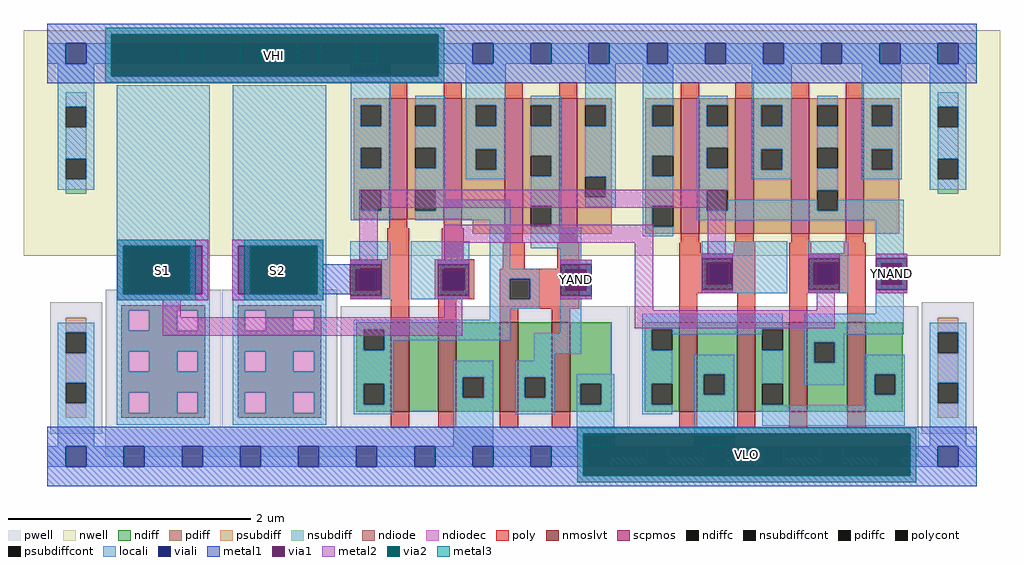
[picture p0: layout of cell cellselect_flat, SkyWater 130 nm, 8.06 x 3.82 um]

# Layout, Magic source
magic
tech sky130A
magscale 1 2
<< nwell >>
rect 96 284 1708 656
<< pwell >>
rect 139 -10 225 207
rect 231 1 421 228
rect 423 1 613 228
rect 619 1 1093 200
rect 1095 1 1573 200
rect 230 -48 1574 1
rect 1579 -10 1665 207
<< scpmos >>
rect 699 344 729 544
rect 789 344 819 544
rect 890 320 920 544
rect 980 320 1010 544
rect 1181 320 1211 544
rect 1271 320 1301 544
rect 1363 320 1393 544
rect 1453 320 1483 544
<< nmoslvt >>
rect 702 26 732 174
rect 780 26 810 174
rect 882 26 912 174
rect 968 26 998 174
rect 1178 26 1208 174
rect 1274 26 1304 174
rect 1360 26 1390 174
rect 1456 26 1486 174
<< ndiff >>
rect 645 162 702 174
rect 645 128 657 162
rect 691 128 702 162
rect 645 72 702 128
rect 645 38 657 72
rect 691 38 702 72
rect 645 26 702 38
rect 732 26 780 174
rect 810 83 882 174
rect 810 49 821 83
rect 855 49 882 83
rect 810 26 882 49
rect 912 83 968 174
rect 912 49 923 83
rect 957 49 968 83
rect 912 26 968 49
rect 998 72 1067 174
rect 998 38 1015 72
rect 1049 38 1067 72
rect 998 26 1067 38
rect 1121 162 1178 174
rect 1121 128 1133 162
rect 1167 128 1178 162
rect 1121 72 1178 128
rect 1121 38 1133 72
rect 1167 38 1178 72
rect 1121 26 1178 38
rect 1208 88 1274 174
rect 1208 54 1219 88
rect 1253 54 1274 88
rect 1208 26 1274 54
rect 1304 162 1360 174
rect 1304 128 1315 162
rect 1349 128 1360 162
rect 1304 72 1360 128
rect 1304 38 1315 72
rect 1349 38 1360 72
rect 1304 26 1360 38
rect 1390 141 1456 174
rect 1390 107 1401 141
rect 1435 107 1456 141
rect 1390 26 1456 107
rect 1486 88 1547 174
rect 1486 54 1501 88
rect 1535 54 1547 88
rect 1486 26 1547 54
<< pdiff >>
rect 641 532 699 544
rect 641 498 652 532
rect 686 498 699 532
rect 641 462 699 498
rect 641 428 652 462
rect 686 428 699 462
rect 641 392 699 428
rect 641 358 652 392
rect 686 358 699 392
rect 641 344 699 358
rect 729 532 789 544
rect 729 498 742 532
rect 776 498 789 532
rect 729 462 789 498
rect 729 428 742 462
rect 776 428 789 462
rect 729 392 789 428
rect 729 358 742 392
rect 776 358 789 392
rect 729 344 789 358
rect 819 532 890 544
rect 819 498 842 532
rect 876 498 890 532
rect 819 460 890 498
rect 819 426 842 460
rect 876 426 890 460
rect 819 344 890 426
rect 837 320 890 344
rect 920 532 980 544
rect 920 498 933 532
rect 967 498 980 532
rect 920 449 980 498
rect 920 415 933 449
rect 967 415 980 449
rect 920 366 980 415
rect 920 332 933 366
rect 967 332 980 366
rect 920 320 980 332
rect 1010 532 1067 544
rect 1010 498 1023 532
rect 1057 498 1067 532
rect 1010 414 1067 498
rect 1010 380 1023 414
rect 1057 380 1067 414
rect 1010 320 1067 380
rect 1122 532 1181 544
rect 1122 498 1134 532
rect 1168 498 1181 532
rect 1122 449 1181 498
rect 1122 415 1134 449
rect 1168 415 1181 449
rect 1122 366 1181 415
rect 1122 332 1134 366
rect 1168 332 1181 366
rect 1122 320 1181 332
rect 1211 532 1271 544
rect 1211 498 1224 532
rect 1258 498 1271 532
rect 1211 462 1271 498
rect 1211 428 1224 462
rect 1258 428 1271 462
rect 1211 392 1271 428
rect 1211 358 1224 392
rect 1258 358 1271 392
rect 1211 320 1271 358
rect 1301 532 1363 544
rect 1301 498 1314 532
rect 1348 498 1363 532
rect 1301 460 1363 498
rect 1301 426 1314 460
rect 1348 426 1363 460
rect 1301 320 1363 426
rect 1393 532 1453 544
rect 1393 498 1406 532
rect 1440 498 1453 532
rect 1393 462 1453 498
rect 1393 428 1406 462
rect 1440 428 1453 462
rect 1393 392 1453 428
rect 1393 358 1406 392
rect 1440 358 1453 392
rect 1393 320 1453 358
rect 1483 532 1542 544
rect 1483 498 1496 532
rect 1530 498 1542 532
rect 1483 460 1542 498
rect 1483 426 1496 460
rect 1530 426 1542 460
rect 1483 320 1542 426
<< ndiffc >>
rect 657 128 691 162
rect 657 38 691 72
rect 821 49 855 83
rect 923 49 957 83
rect 1015 38 1049 72
rect 1133 128 1167 162
rect 1133 38 1167 72
rect 1219 54 1253 88
rect 1315 128 1349 162
rect 1315 38 1349 72
rect 1401 107 1435 141
rect 1501 54 1535 88
<< pdiffc >>
rect 652 498 686 532
rect 652 428 686 462
rect 652 358 686 392
rect 742 498 776 532
rect 742 428 776 462
rect 742 358 776 392
rect 842 498 876 532
rect 842 426 876 460
rect 933 498 967 532
rect 933 415 967 449
rect 933 332 967 366
rect 1023 498 1057 532
rect 1023 380 1057 414
rect 1134 498 1168 532
rect 1134 415 1168 449
rect 1134 332 1168 366
rect 1224 498 1258 532
rect 1224 428 1258 462
rect 1224 358 1258 392
rect 1314 498 1348 532
rect 1314 426 1348 460
rect 1406 498 1440 532
rect 1406 428 1440 462
rect 1406 358 1440 392
rect 1496 498 1530 532
rect 1496 426 1530 460
<< psubdiff >>
rect 165 157 199 181
rect 165 74 199 123
rect 165 16 199 40
rect 1605 157 1639 181
rect 1605 74 1639 123
rect 1605 16 1639 40
<< nsubdiff >>
rect 165 530 199 554
rect 165 444 199 496
rect 165 386 199 410
rect 1605 530 1639 554
rect 1605 444 1639 496
rect 1605 386 1639 410
<< psubdiffcont >>
rect 165 123 199 157
rect 165 40 199 74
rect 1605 123 1639 157
rect 1605 40 1639 74
<< nsubdiffcont >>
rect 165 496 199 530
rect 165 410 199 444
rect 1605 496 1639 530
rect 1605 410 1639 444
<< poly >>
rect 699 544 729 570
rect 789 544 819 570
rect 890 544 920 570
rect 980 544 1010 570
rect 1181 544 1211 570
rect 1271 544 1301 570
rect 1363 544 1393 570
rect 1453 544 1483 570
rect 699 329 729 344
rect 789 329 819 344
rect 696 278 732 329
rect 786 278 822 329
rect 890 305 920 320
rect 980 305 1010 320
rect 1181 305 1211 320
rect 1271 305 1301 320
rect 1363 305 1393 320
rect 1453 305 1483 320
rect 635 262 732 278
rect 635 228 651 262
rect 685 228 732 262
rect 635 212 732 228
rect 774 262 840 278
rect 887 262 923 305
rect 977 262 1013 305
rect 774 228 790 262
rect 824 228 840 262
rect 774 212 840 228
rect 882 246 1013 262
rect 882 212 898 246
rect 932 212 1013 246
rect 702 174 732 212
rect 780 174 810 212
rect 882 196 1013 212
rect 1178 288 1214 305
rect 1268 288 1304 305
rect 1178 272 1304 288
rect 1178 238 1231 272
rect 1265 238 1304 272
rect 1178 222 1304 238
rect 882 174 912 196
rect 968 174 998 196
rect 1178 174 1208 222
rect 1274 174 1304 222
rect 1360 288 1396 305
rect 1450 288 1486 305
rect 1360 272 1486 288
rect 1360 238 1407 272
rect 1441 238 1486 272
rect 1360 222 1486 238
rect 1360 174 1390 222
rect 1456 174 1486 222
rect 702 0 732 26
rect 780 0 810 26
rect 882 0 912 26
rect 968 0 998 26
rect 1178 0 1208 26
rect 1274 0 1304 26
rect 1360 0 1390 26
rect 1456 0 1486 26
<< polycont >>
rect 651 228 685 262
rect 790 228 824 262
rect 898 212 932 246
rect 1231 238 1265 272
rect 1407 238 1441 272
<< ndiode >>
rect 257 194 395 202
rect 257 160 269 194
rect 303 160 349 194
rect 383 160 395 194
rect 257 126 395 160
rect 257 92 269 126
rect 303 92 349 126
rect 383 92 395 126
rect 257 58 395 92
rect 257 24 269 58
rect 303 24 349 58
rect 383 24 395 58
rect 257 16 395 24
rect 449 194 587 202
rect 449 160 461 194
rect 495 160 541 194
rect 575 160 587 194
rect 449 126 587 160
rect 449 92 461 126
rect 495 92 541 126
rect 575 92 587 126
rect 449 58 587 92
rect 449 24 461 58
rect 495 24 541 58
rect 575 24 587 58
rect 449 16 587 24
<< ndiodec >>
rect 269 160 303 194
rect 349 160 383 194
rect 269 92 303 126
rect 349 92 383 126
rect 269 24 303 58
rect 349 24 383 58
rect 461 160 495 194
rect 541 160 575 194
rect 461 92 495 126
rect 541 92 575 126
rect 461 24 495 58
rect 541 24 575 58
<< locali >>
rect 134 601 165 635
rect 199 601 261 635
rect 295 601 357 635
rect 391 601 453 635
rect 487 601 549 635
rect 583 601 645 635
rect 679 601 741 635
rect 775 601 837 635
rect 871 601 933 635
rect 967 601 1029 635
rect 1063 601 1125 635
rect 1159 601 1221 635
rect 1255 601 1317 635
rect 1351 601 1413 635
rect 1447 601 1509 635
rect 1543 601 1605 635
rect 1639 601 1670 635
rect 152 530 212 601
rect 152 496 165 530
rect 199 496 212 530
rect 152 444 212 496
rect 152 410 165 444
rect 199 410 212 444
rect 152 393 212 410
rect 249 300 403 565
rect 441 310 595 565
rect 636 532 702 601
rect 636 498 652 532
rect 686 498 702 532
rect 636 462 702 498
rect 636 428 652 462
rect 686 428 702 462
rect 636 392 702 428
rect 636 358 652 392
rect 686 358 702 392
rect 636 342 702 358
rect 742 532 792 548
rect 776 498 792 532
rect 742 462 792 498
rect 776 428 792 462
rect 742 392 792 428
rect 826 532 892 601
rect 826 498 842 532
rect 876 498 892 532
rect 826 460 892 498
rect 826 426 842 460
rect 876 426 892 460
rect 826 410 892 426
rect 933 532 983 548
rect 967 498 983 532
rect 933 449 983 498
rect 967 415 983 449
rect 776 376 792 392
rect 776 358 899 376
rect 742 342 899 358
rect 249 220 270 300
rect 380 220 403 300
rect 249 194 403 220
rect 440 300 595 310
rect 440 220 460 300
rect 570 220 595 300
rect 440 210 595 220
rect 635 262 701 308
rect 635 261 651 262
rect 635 227 644 261
rect 685 228 701 262
rect 678 227 701 228
rect 635 212 701 227
rect 735 262 831 308
rect 735 261 790 262
rect 735 227 788 261
rect 824 228 831 262
rect 822 227 831 228
rect 735 212 831 227
rect 865 262 899 342
rect 933 366 983 415
rect 967 332 983 366
rect 1023 532 1073 601
rect 1057 498 1073 532
rect 1023 414 1073 498
rect 1057 380 1073 414
rect 1023 364 1073 380
rect 1118 532 1168 601
rect 1118 498 1134 532
rect 1118 449 1168 498
rect 1118 415 1134 449
rect 1118 366 1168 415
rect 933 330 983 332
rect 1118 332 1134 366
rect 1208 532 1258 548
rect 1208 498 1224 532
rect 1208 462 1258 498
rect 1208 428 1224 462
rect 1208 392 1258 428
rect 1298 532 1364 601
rect 1298 498 1314 532
rect 1348 498 1364 532
rect 1298 460 1364 498
rect 1298 426 1314 460
rect 1348 426 1364 460
rect 1298 410 1364 426
rect 1406 532 1440 548
rect 1406 462 1440 498
rect 1208 358 1224 392
rect 1406 392 1440 428
rect 1480 532 1546 601
rect 1480 498 1496 532
rect 1530 498 1546 532
rect 1480 460 1546 498
rect 1480 426 1496 460
rect 1530 426 1546 460
rect 1480 410 1546 426
rect 1592 530 1652 601
rect 1592 496 1605 530
rect 1639 496 1652 530
rect 1592 444 1652 496
rect 1592 410 1605 444
rect 1639 410 1652 444
rect 1592 393 1652 410
rect 1258 358 1406 376
rect 1440 358 1549 376
rect 1208 342 1549 358
rect 933 296 1016 330
rect 1118 316 1168 332
rect 982 277 1016 296
rect 865 246 948 262
rect 865 212 898 246
rect 932 212 948 246
rect 152 157 212 173
rect 152 123 165 157
rect 199 123 212 157
rect 152 74 212 123
rect 152 40 165 74
rect 199 40 212 74
rect 152 -31 212 40
rect 249 160 269 194
rect 303 160 349 194
rect 383 160 403 194
rect 249 126 403 160
rect 249 92 269 126
rect 303 92 349 126
rect 383 92 403 126
rect 249 58 403 92
rect 249 24 269 58
rect 303 24 349 58
rect 383 24 403 58
rect 249 5 403 24
rect 441 194 595 210
rect 441 160 461 194
rect 495 160 541 194
rect 575 160 595 194
rect 865 196 948 212
rect 982 261 1034 277
rect 982 227 991 261
rect 1025 227 1034 261
rect 982 212 1034 227
rect 1215 272 1357 308
rect 1215 271 1231 272
rect 1215 237 1224 271
rect 1265 238 1357 272
rect 1258 237 1357 238
rect 1215 222 1357 237
rect 1391 272 1457 308
rect 1391 271 1407 272
rect 1391 237 1400 271
rect 1441 238 1457 272
rect 1434 237 1457 238
rect 1391 222 1457 237
rect 1503 287 1549 342
rect 1503 271 1555 287
rect 1503 237 1512 271
rect 1546 237 1555 271
rect 1503 222 1555 237
rect 865 178 899 196
rect 441 126 595 160
rect 441 92 461 126
rect 495 92 541 126
rect 575 92 595 126
rect 441 58 595 92
rect 441 24 461 58
rect 495 24 541 58
rect 575 24 595 58
rect 441 5 595 24
rect 641 162 899 178
rect 641 128 657 162
rect 691 144 899 162
rect 982 156 1016 212
rect 1503 188 1549 222
rect 691 128 707 144
rect 641 72 707 128
rect 939 122 1016 156
rect 1117 162 1349 188
rect 1117 128 1133 162
rect 1167 154 1315 162
rect 939 110 973 122
rect 641 38 657 72
rect 691 38 707 72
rect 641 22 707 38
rect 805 83 871 110
rect 805 49 821 83
rect 855 49 871 83
rect 805 -31 871 49
rect 907 83 973 110
rect 907 49 923 83
rect 957 49 973 83
rect 907 22 973 49
rect 1009 72 1071 88
rect 1009 38 1015 72
rect 1049 38 1071 72
rect 1009 -31 1071 38
rect 1117 72 1167 128
rect 1117 38 1133 72
rect 1117 22 1167 38
rect 1203 88 1269 120
rect 1203 54 1219 88
rect 1253 54 1269 88
rect 1203 -31 1269 54
rect 1315 72 1349 128
rect 1385 154 1549 188
rect 1592 157 1652 173
rect 1385 141 1451 154
rect 1385 107 1401 141
rect 1435 107 1451 141
rect 1592 123 1605 157
rect 1639 123 1652 157
rect 1385 71 1451 107
rect 1485 88 1551 120
rect 1315 37 1349 38
rect 1485 54 1501 88
rect 1535 54 1551 88
rect 1485 37 1551 54
rect 1315 3 1551 37
rect 1592 74 1652 123
rect 1592 40 1605 74
rect 1639 40 1652 74
rect 1592 -31 1652 40
rect 134 -65 165 -31
rect 199 -65 261 -31
rect 295 -65 357 -31
rect 391 -65 453 -31
rect 487 -65 549 -31
rect 583 -65 645 -31
rect 679 -65 741 -31
rect 775 -65 837 -31
rect 871 -65 933 -31
rect 967 -65 1029 -31
rect 1063 -65 1125 -31
rect 1159 -65 1221 -31
rect 1255 -65 1317 -31
rect 1351 -65 1413 -31
rect 1447 -65 1509 -31
rect 1543 -65 1605 -31
rect 1639 -65 1670 -31
<< viali >>
rect 165 601 199 635
rect 261 601 295 635
rect 357 601 391 635
rect 453 601 487 635
rect 549 601 583 635
rect 645 601 679 635
rect 741 601 775 635
rect 837 601 871 635
rect 933 601 967 635
rect 1029 601 1063 635
rect 1125 601 1159 635
rect 1221 601 1255 635
rect 1317 601 1351 635
rect 1413 601 1447 635
rect 1509 601 1543 635
rect 1605 601 1639 635
rect 270 220 380 300
rect 460 220 570 300
rect 644 228 651 261
rect 651 228 678 261
rect 644 227 678 228
rect 788 228 790 261
rect 790 228 822 261
rect 788 227 822 228
rect 991 227 1025 261
rect 1224 238 1231 271
rect 1231 238 1258 271
rect 1224 237 1258 238
rect 1400 238 1407 271
rect 1407 238 1434 271
rect 1400 237 1434 238
rect 1512 237 1546 271
rect 165 -65 199 -31
rect 261 -65 295 -31
rect 357 -65 391 -31
rect 453 -65 487 -31
rect 549 -65 583 -31
rect 645 -65 679 -31
rect 741 -65 775 -31
rect 837 -65 871 -31
rect 933 -65 967 -31
rect 1029 -65 1063 -31
rect 1125 -65 1159 -31
rect 1221 -65 1255 -31
rect 1317 -65 1351 -31
rect 1413 -65 1447 -31
rect 1509 -65 1543 -31
rect 1605 -65 1639 -31
<< metal1 >>
rect 134 650 1670 667
rect 134 635 240 650
rect 780 635 1670 650
rect 134 601 165 635
rect 199 601 240 635
rect 780 601 837 635
rect 871 601 933 635
rect 967 601 1029 635
rect 1063 601 1125 635
rect 1159 601 1221 635
rect 1255 601 1317 635
rect 1351 601 1413 635
rect 1447 601 1509 635
rect 1543 601 1605 635
rect 1639 601 1670 635
rect 134 580 240 601
rect 780 580 1670 601
rect 134 569 1670 580
rect 250 300 400 310
rect 250 220 260 300
rect 390 220 400 300
rect 250 210 400 220
rect 440 300 590 310
rect 440 220 450 300
rect 580 270 590 300
rect 1215 280 1267 287
rect 635 270 687 277
rect 580 220 635 270
rect 440 210 590 220
rect 635 212 687 218
rect 779 270 831 277
rect 779 212 831 218
rect 982 270 1034 277
rect 1215 222 1267 228
rect 1391 280 1443 287
rect 1391 222 1443 228
rect 1503 280 1555 287
rect 1503 222 1555 228
rect 982 212 1034 218
rect 134 -10 1670 1
rect 134 -31 1020 -10
rect 1560 -31 1670 -10
rect 134 -65 165 -31
rect 199 -65 261 -31
rect 295 -65 357 -31
rect 391 -65 453 -31
rect 487 -65 549 -31
rect 583 -65 645 -31
rect 679 -65 741 -31
rect 775 -65 837 -31
rect 871 -65 933 -31
rect 967 -65 1020 -31
rect 1560 -65 1605 -31
rect 1639 -65 1670 -31
rect 134 -80 1020 -65
rect 1560 -80 1670 -65
rect 134 -97 1670 -80
<< via1 >>
rect 240 635 780 650
rect 240 601 261 635
rect 261 601 295 635
rect 295 601 357 635
rect 357 601 391 635
rect 391 601 453 635
rect 453 601 487 635
rect 487 601 549 635
rect 549 601 583 635
rect 583 601 645 635
rect 645 601 679 635
rect 679 601 741 635
rect 741 601 775 635
rect 775 601 780 635
rect 240 580 780 601
rect 260 220 270 300
rect 270 220 380 300
rect 380 220 390 300
rect 450 220 460 300
rect 460 220 570 300
rect 570 220 580 300
rect 635 261 687 270
rect 635 227 644 261
rect 644 227 678 261
rect 678 227 687 261
rect 635 218 687 227
rect 779 261 831 270
rect 779 227 788 261
rect 788 227 822 261
rect 822 227 831 261
rect 779 218 831 227
rect 982 261 1034 270
rect 982 227 991 261
rect 991 227 1025 261
rect 1025 227 1034 261
rect 982 218 1034 227
rect 1215 271 1267 280
rect 1215 237 1224 271
rect 1224 237 1258 271
rect 1258 237 1267 271
rect 1215 228 1267 237
rect 1391 271 1443 280
rect 1391 237 1400 271
rect 1400 237 1434 271
rect 1434 237 1443 271
rect 1391 228 1443 237
rect 1503 271 1555 280
rect 1503 237 1512 271
rect 1512 237 1546 271
rect 1546 237 1555 271
rect 1503 228 1555 237
rect 1020 -31 1560 -10
rect 1020 -65 1029 -31
rect 1029 -65 1063 -31
rect 1063 -65 1125 -31
rect 1125 -65 1159 -31
rect 1159 -65 1221 -31
rect 1221 -65 1255 -31
rect 1255 -65 1317 -31
rect 1317 -65 1351 -31
rect 1351 -65 1413 -31
rect 1413 -65 1447 -31
rect 1447 -65 1509 -31
rect 1509 -65 1543 -31
rect 1543 -65 1560 -31
rect 1020 -80 1560 -65
<< metal2 >>
rect 230 650 790 660
rect 230 580 240 650
rect 780 580 790 650
rect 230 570 790 580
rect 650 363 1255 393
rect 250 300 400 310
rect 250 220 260 300
rect 390 220 400 300
rect 250 210 400 220
rect 440 300 590 310
rect 440 220 450 300
rect 580 220 590 300
rect 650 277 680 363
rect 790 305 1135 335
rect 790 277 820 305
rect 440 210 590 220
rect 635 270 687 277
rect 635 212 687 218
rect 779 270 831 277
rect 779 212 831 218
rect 982 270 1034 277
rect 982 212 1034 218
rect 325 182 355 210
rect 790 182 820 212
rect 325 152 820 182
rect 1105 194 1135 305
rect 1225 287 1255 363
rect 1215 280 1267 287
rect 1215 222 1267 228
rect 1391 280 1443 287
rect 1391 222 1443 228
rect 1503 280 1555 287
rect 1503 222 1555 228
rect 1405 194 1435 222
rect 1105 164 1435 194
rect 1010 -10 1570 0
rect 1010 -80 1020 -10
rect 1560 -80 1570 -10
rect 1010 -90 1570 -80
<< via2 >>
rect 240 580 780 650
rect 260 220 370 300
rect 470 220 580 300
rect 1020 -80 1560 -10
<< metal3 >>
rect 230 650 790 660
rect 230 580 240 650
rect 780 580 790 650
rect 230 570 790 580
rect 250 300 380 310
rect 250 220 260 300
rect 370 220 380 300
rect 250 210 380 220
rect 460 300 590 310
rect 460 220 470 300
rect 580 220 590 300
rect 460 210 590 220
rect 1010 -10 1570 0
rect 1010 -80 1020 -10
rect 1560 -80 1570 -10
rect 1010 -90 1570 -80
<< labels >>
rlabel locali 250 210 400 310 1 S1
rlabel locali 440 210 590 310 1 S2
rlabel metal2 982 212 1034 277 1 YAND
rlabel metal2 1503 222 1555 287 1 YNAND
rlabel metal3 230 570 790 660 1 VHI
rlabel metal3 1010 -90 1570 0 1 VLO
<< end >>
